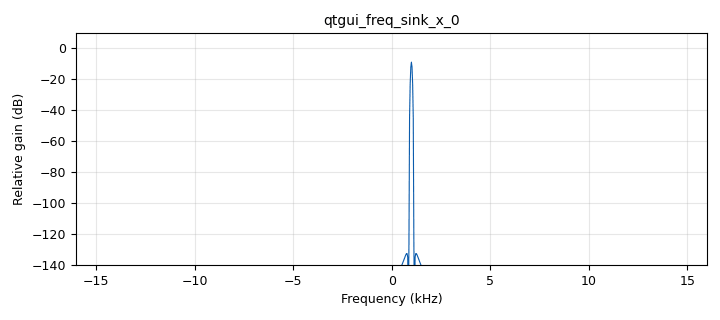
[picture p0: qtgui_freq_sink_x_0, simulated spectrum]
<?xml version='1.0' encoding='utf-8'?>
<?grc format='1' created='3.7.8'?>
<flow_graph>
<block>
<key>options</key>
<param><key>id</key><value>top_block</value></param>
<param><key>category</key><value>Custom</value></param>
<param><key>generate_options</key><value>qt_gui</value></param>
</block>
<block>
<key>variable</key>
<param><key>id</key><value>samp_rate</value></param>
<param><key>value</key><value>32000</value></param>
</block>
<block>
<key>parameter</key>
<param><key>id</key><value>Filename</value></param>
<param><key>type</key><value>string</value></param>
<param><key>value</key><value>/Users/yuwang/gnuradio/Workspace/MyGraph/FFT/freq_sign</value></param>
</block>
<block>
<key>analog_sig_source_x</key>
<param><key>id</key><value>analog_sig_source_x_0</value></param>
<param><key>amp</key><value>1</value></param>
<param><key>freq</key><value>1000</value></param>
<param><key>offset</key><value>0</value></param>
<param><key>type</key><value>complex</value></param>
<param><key>samp_rate</key><value>samp_rate</value></param>
<param><key>waveform</key><value>analog.GR_COS_WAVE</value></param>
</block>
<block>
<key>blocks_complex_to_mag_squared</key>
<param><key>id</key><value>blocks_complex_to_mag_squared_0</value></param>
<param><key>_enabled</key><value>0</value></param>
<param><key>vlen</key><value>1024</value></param>
</block>
<block>
<key>blocks_stream_to_vector</key>
<param><key>id</key><value>blocks_stream_to_vector_0</value></param>
<param><key>_enabled</key><value>0</value></param>
<param><key>type</key><value>complex</value></param>
<param><key>num_items</key><value>1024</value></param>
</block>
<block>
<key>blocks_throttle</key>
<param><key>id</key><value>blocks_throttle_0</value></param>
<param><key>_enabled</key><value>0</value></param>
<param><key>samples_per_second</key><value>samp_rate</value></param>
<param><key>type</key><value>complex</value></param>
</block>
<block>
<key>fft_vxx</key>
<param><key>id</key><value>fft_vxx_0</value></param>
<param><key>_enabled</key><value>0</value></param>
<param><key>fft_size</key><value>1024</value></param>
<param><key>forward</key><value>True</value></param>
<param><key>type</key><value>complex</value></param>
<param><key>shift</key><value>True</value></param>
<param><key>window</key><value>window.blackmanharris(1024)</value></param>
</block>
<block>
<key>note</key>
<param><key>id</key><value>note_0</value></param>
<param><key>comment</key><value>In this project, there are two key points.

1. pay attention to the type of the IO stream.
The output of the "Complex to Mag^2" is real, so we 
should not use complex interfaced element

2. the gui is based on qt, so do not choose component 
supported by WX

by Yu Wang Nov 10</value></param>
</block>
<block>
<key>qtgui_freq_sink_x</key>
<param><key>id</key><value>qtgui_freq_sink_x_0</value></param>
<param><key>bw</key><value>samp_rate</value></param>
<param><key>fc</key><value>0</value></param>
<param><key>fftsize</key><value>1024</value></param>
<param><key>showports</key><value>True</value></param>
<param><key>type</key><value>complex</value></param>
<param><key>wintype</key><value>firdes.WIN_BLACKMAN_hARRIS</value></param>
</block>
<connection><source_block_id>analog_sig_source_x_0</source_block_id><sink_block_id>blocks_throttle_0</sink_block_id><source_key>0</source_key><sink_key>0</sink_key></connection>
<connection><source_block_id>analog_sig_source_x_0</source_block_id><sink_block_id>qtgui_freq_sink_x_0</sink_block_id><source_key>0</source_key><sink_key>0</sink_key></connection>
<connection><source_block_id>blocks_stream_to_vector_0</source_block_id><sink_block_id>fft_vxx_0</sink_block_id><source_key>0</source_key><sink_key>0</sink_key></connection>
<connection><source_block_id>blocks_throttle_0</source_block_id><sink_block_id>blocks_stream_to_vector_0</sink_block_id><source_key>0</source_key><sink_key>0</sink_key></connection>
<connection><source_block_id>blocks_throttle_0</source_block_id><sink_block_id>qtgui_freq_sink_x_0</sink_block_id><source_key>0</source_key><sink_key>0</sink_key></connection>
<connection><source_block_id>fft_vxx_0</source_block_id><sink_block_id>blocks_complex_to_mag_squared_0</sink_block_id><source_key>0</source_key><sink_key>0</sink_key></connection>
</flow_graph>
